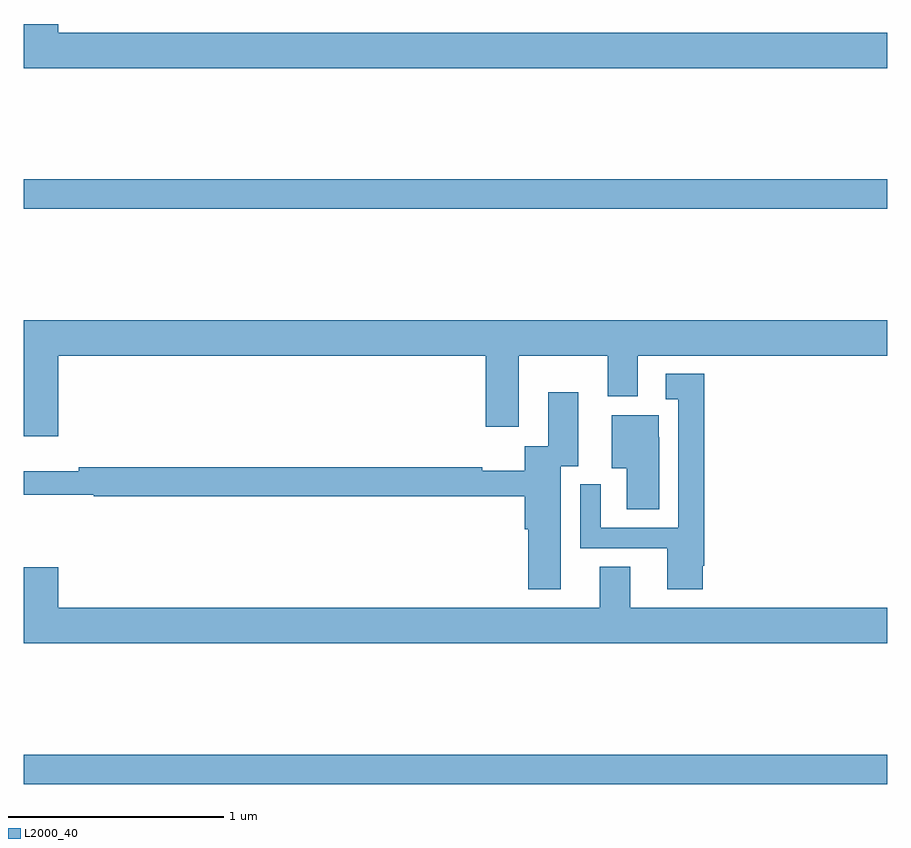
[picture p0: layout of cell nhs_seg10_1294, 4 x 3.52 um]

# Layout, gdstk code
import gdstk
lib = gdstk.Library(unit=1e-6, precision=1e-09)
def R(c, l, rs):  # rectangles x0, y0, x1, y1
    for r in rs: c.add(gdstk.rectangle(r[:2], r[2:], *l))
def P(c, l, *ps):  # polygons
    for p in ps: c.add(gdstk.Polygon(p, *l))
L2000_40 = (2000, 40)

nhs_seg10_1294 = lib.new_cell('nhs_seg10_1294')
R(nhs_seg10_1294, L2000_40, [(177,1316.98,181,1317.116), (177,1319.644,181,1319.78)])
P(nhs_seg10_1294, L2000_40, [(181,1320.46),(177.16,1320.46),(177.16,1320.5),(177,1320.5),(177,1320.296),(181,1320.296)],
  [(177.16,1318.964),(179.141,1318.964),(179.141,1318.635),(179.293,1318.635),(179.293,1318.964),(179.705,1318.964),(179.705,1318.775),(179.845,1318.775),(179.845,1318.964),(181,1318.964),(181,1319.128),(177,1319.128),(177,1318.59),(177.16,1318.59)],
  [(180.146,1317.991),(180.151,1317.991),(180.151,1318.879),(179.973,1318.879),(179.973,1318.762),(180.032,1318.762),(180.032,1318.167),(179.673,1318.167),(179.673,1318.368),(179.577,1318.368),(179.577,1318.071),(179.981,1318.071),(179.981,1317.881),(180.146,1317.881)],
  [(179.488,1318.452),(179.569,1318.452),(179.569,1318.795),(179.429,1318.795),(179.429,1318.545),(179.321,1318.545),(179.321,1318.43),(179.125,1318.43),(179.125,1318.448),(177.256,1318.448),(177.256,1318.429),(177,1318.429),(177,1318.32),(177.325,1318.32),(177.325,1318.312),(179.321,1318.312),(179.321,1318.161),(179.336,1318.161),(179.336,1317.882),(179.488,1317.882)],
  [(179.944,1318.586),(179.941,1318.586),(179.941,1318.687),(179.723,1318.687),(179.723,1318.442),(179.792,1318.442),(179.792,1318.252),(179.944,1318.252)],
  [(181,1317.796),(179.809,1317.796),(179.809,1317.986),(179.669,1317.986),(179.669,1317.796),(177.16,1317.796),(177.16,1317.985),(177,1317.985),(177,1317.632),(181,1317.632)])

lib.write_gds('nhs_seg10_1294.gds')
